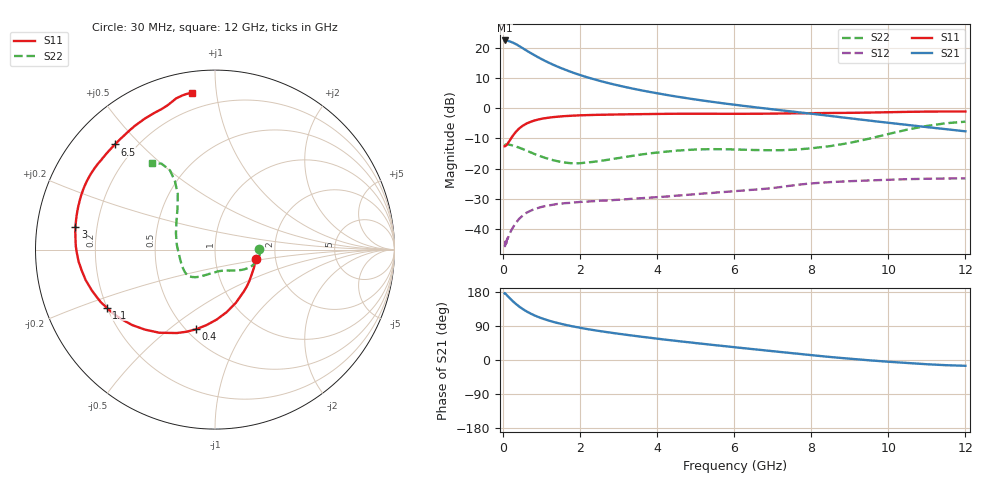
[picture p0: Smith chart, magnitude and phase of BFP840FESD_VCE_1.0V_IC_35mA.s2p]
! Infineon Technologies  Discrete & RF Semiconductors
! BFP840FESD
! VCE =  1.0 V,  IC =  35 mA
! Common Emitter S-Parameters:  May 2012
# GHz  S  MA  R  50
!  f  S11  S21  S12  S22
! GHz  MAG  ANG  MAG  ANG  MAG  ANG  MAG  ANG
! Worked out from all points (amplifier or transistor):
!   103 points, 30 MHz to 12 GHz, reference 50 ohm
!   highest |S21| = 22.4 dB at 30 MHz (marker M1)
!   |S21| within 3 dB of that: start of sweep to 555.4 MHz
!   unconditionally stable (mu >= 1): start of sweep to end of sweep
!   at 400 MHz: K = 2.40, MAG = 22.0 dB, |S12| = -36.7 dB
!   at 3.7 GHz: K = 2.73, MAG = 10.4 dB, |S12| = -29.7 dB
!   at 12 GHz: K = 2.93, MAG = 0.2 dB, |S12| = -23.2 dB
!   S11 on the Smith chart (normalised r, x): 30 MHz: 1.58, -0.18; 400 MHz: 0.56, -0.63; 1.1 GHz: 0.20, -0.24; 3 GHz: 0.12, +0.08; 6.5 GHz: 0.13, +0.42; 12 GHz: 0.11, +0.86
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0.03  0.234 -13.2  13.22 175.9  0.0054 25.4  0.2438 1.0
0.04  0.2344 -17.2  13.18 174.8  0.0052 29.7  0.2467 0.2
0.05  0.2368 -21.6  13.1 175.2  0.0062 25.3  0.2483 -0.8
0.13  0.2715 -49.4  12.95 166.6  0.0075 35.5  0.2501 -7.6
0.2  0.3185 -68.6  12.51 159.4  0.0094 41.9  0.2452 -12.6
0.25  0.3543 -79.4  12.11 154.6  0.0107 44.6  0.2405 -15.7
0.35  0.4237 -96.5  11.26 145.8  0.0132 44.9  0.2289 -21.7
0.4  0.4563 -103.4  10.74 141.7  0.0146 45.0  0.2233 -24.5
0.5  0.5113 -114.6  9.849 134.5  0.0167 43.5  0.2111 -29.1
0.7  0.5929 -131.3  8.243 122.8  0.02 39.9  0.1866 -37.3
0.9  0.6482 -143.1  6.974 113.7  0.0223 36.7  0.1658 -44.6
1.1  0.6851 -151.9  5.981 106.5  0.0241 34.0  0.1495 -51.4
1.3  0.712 -158.8  5.215 100.4  0.0253 32.1  0.1372 -58.2
1.5  0.7311 -164.3  4.6 95.4  0.0263 30.8  0.1287 -65.5
2.1  0.7657 -176.6  3.363 83.0  0.0283 28.9  0.1249 -87.4
3  0.7879 170.6  2.366 69.1  0.0305 30.0  0.1498 -109.6
4.1  0.8049 157.8  1.719 55.0  0.034 32.8  0.1874 -125.1
6.1  0.8074 137.9  1.121 32.7  0.0428 36.0  0.2067 -149.0
6.5  0.8086 133.6  1.043 28.5  0.0447 36.4  0.2031 -156.2
8.5  0.8331 114.0  0.743 7.8  0.0598 31.7  0.2362 157.1
10.5  0.8699 104.4  0.528 -7.9  0.0669 23.9  0.4436 120.3
12  0.8817 98.4  0.414 -15.3  0.0689 21.0  0.5985 126.2
